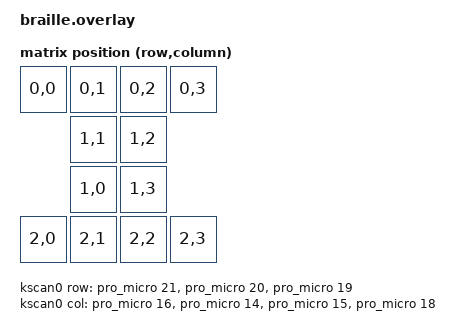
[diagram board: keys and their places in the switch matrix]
#include <dt-bindings/zmk/matrix_transform.h>

&pwm0 {
    status = "okay";
    pinctrl-0 = <&pwm0_default>;
    pinctrl-1 = <&pwm0_sleep>;
    pinctrl-names = "default", "sleep";
    status = "okay";
};

/ {
    chosen {
        zmk,kscan = &kscan0;
        zmk,matrix-transform = &default_transform;
    };

    rumble: pwm_rumble {
        compatible = "braille,pwm-rumble";
		pwms = <&pwm0 0 1000 PWM_POLARITY_NORMAL>;
		label = "PWM Rumble";
		status = "okay";
    };


	aliases {
		rumble = &rumble;
	};

    kscan0: kscan_0 {
        compatible = "zmk,kscan-gpio-matrix";
        diode-direction = "row2col";

// nice nano pins:
//    rows = 0_31, 0_29, 0_02
//    cols = 0_10, 1_11, 1_13, 1_15  

        col-gpios = 
              <&pro_micro 16 (GPIO_ACTIVE_HIGH | GPIO_PULL_DOWN)>
            , <&pro_micro 14 (GPIO_ACTIVE_HIGH | GPIO_PULL_DOWN)>
            , <&pro_micro 15 (GPIO_ACTIVE_HIGH | GPIO_PULL_DOWN)>
            , <&pro_micro 18 (GPIO_ACTIVE_HIGH | GPIO_PULL_DOWN)>
            ;

        row-gpios
            = <&pro_micro 21 GPIO_ACTIVE_HIGH>
            , <&pro_micro 20 GPIO_ACTIVE_HIGH>
            , <&pro_micro 19 GPIO_ACTIVE_HIGH>
            ;




        default_transform: keymap_transform_0 {
            compatible = "zmk,matrix-transform";
            columns = <4>;
            rows = <3>;
    // | MX1  | MX2  | MX3  | MX4  | 
    //        | MX6  | MX7  |  
    //        | MX5  | MX8  |
    // | MX9  | MX10 | MX11 | MX12 |
            map = <
    RC(0,0) RC(0,1) RC(0,2) RC(0,3) 
            RC(1,1) RC(1,2) 
            RC(1,0) RC(1,3)
    RC(2,0) RC(2,1) RC(2,2) RC(2,3)
            >;
        };
    };
};
